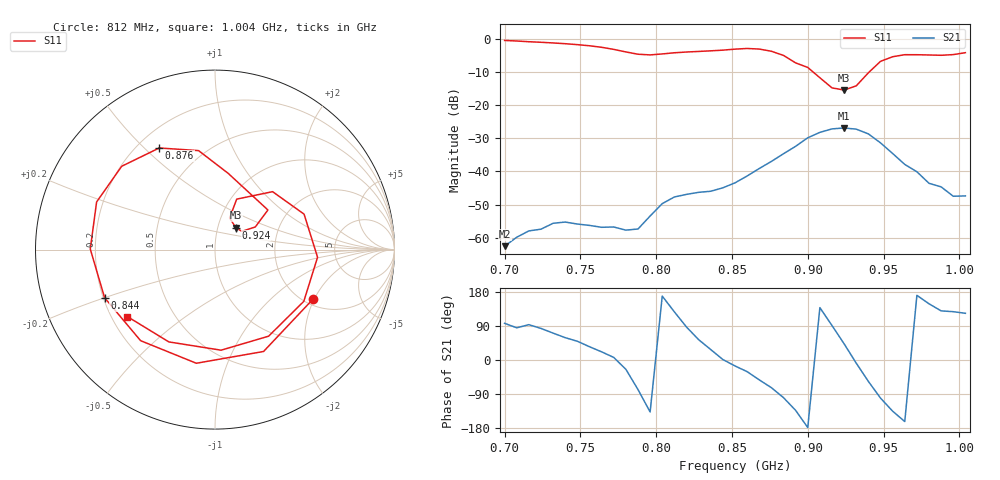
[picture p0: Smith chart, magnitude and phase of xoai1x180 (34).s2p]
# Hz S RI R 50
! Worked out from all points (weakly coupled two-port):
!   39 points, 700 MHz to 1.004 GHz, reference 50 ohm
!   highest |S21| = -26.91 dB at 924 MHz (marker M1); lowest = -62.5 dB at 700 MHz (marker M2)
!   lowest |S11| = -15.5 dB at 924 MHz (marker M3), VSWR 1.40, Z = 61 + j15.3 ohm
!   |S11| at or under -10 dB: 903.4 MHz to 940.7 MHz (37.24 MHz wide, 4.04 % of centre)
!   S12 and S22 are empty: the file has one direction only
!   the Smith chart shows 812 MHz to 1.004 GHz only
!   S11 on the Smith chart (normalised r, x): 812 MHz: 2.24, -1.96; 844 MHz: 0.21, -0.20; 876 MHz: 0.29, +0.56; 924 MHz: 1.22, +0.31; 1.004 GHz: 0.26, -0.32
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7e8  0.7569 0.5555  -8.87e-05 0.000744  0 0  0 0
7.24e8  0.847 -0.2436  0.000157 0.00134  0 0  0 0
7.4e8  0.4589 -0.7024  0.000893 0.00148  0 0  0 0
7.56e8  -0.1914 -0.7568  0.00126 0.000884  0 0  0 0
7.72e8  -0.6606 -0.196  0.00145 0.000172  0 0  0 0
7.8e8  -0.5912 0.2193  0.00119 -0.000543  0 0  0 0
7.88e8  -0.248 0.5272  0.000282 -0.00133  0 0  0 0
7.96e8  0.2352 0.5183  -0.00156 -0.00145  0 0  0 0
8.04e8  0.5609 0.1774  -0.00321 0.000645  0 0  0 0
8.12e8  0.5482 -0.2737  -0.00248 0.0033  0 0  0 0
8.28e8  -0.104 -0.6332  0.00287 0.00391  0 0  0 0
8.44e8  -0.615 -0.2684  0.00567 0.000119  0 0  0 0
8.52e8  -0.6949 0.00299  0.00648 -0.00182  0 0  0 0
8.76e8  -0.3106 0.5662  0.00413 -0.0135  0 0  0 0
9e8  0.2948 0.2207  -0.0321 -0.00101  0 0  0 0
9.08e8  0.2246 0.1263  -0.0289 0.0259  0 0  0 0
9.24e8  0.1159 0.1221  0.0332 0.0306  0 0  0 0
9.4e8  0.121 0.2812  0.0203 -0.0307  0 0  0 0
9.56e8  0.4963 0.1975  -0.0132 -0.0132  0 0  0 0
9.64e8  0.5714 -0.0427  -0.0122 -0.00386  0 0  0 0
9.8e8  0.2988 -0.4823  -0.00564 0.00348  0 0  0 0
1.004e9  -0.4876 -0.3736  -0.00235 0.00358  0 0  0 0
